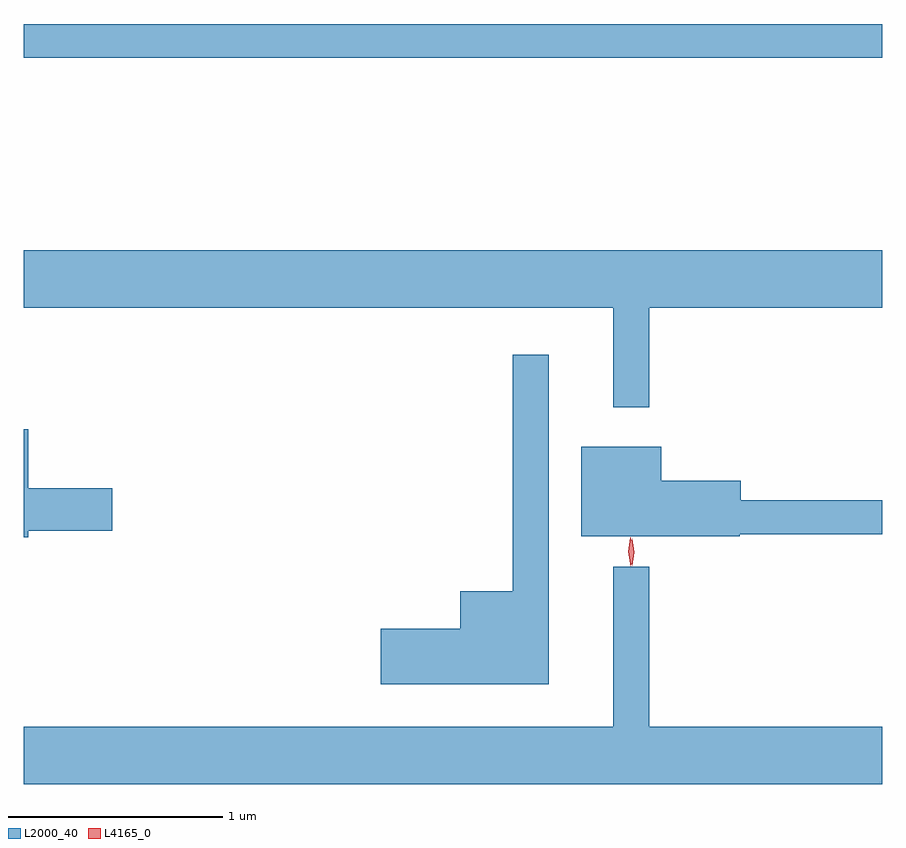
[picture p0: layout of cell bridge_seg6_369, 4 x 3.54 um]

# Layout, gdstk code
import gdstk
lib = gdstk.Library(unit=1e-6, precision=1e-09)
def R(c, l, rs):  # rectangles x0, y0, x1, y1
    for r in rs: c.add(gdstk.rectangle(r[:2], r[2:], *l))
def P(c, l, *ps):  # polygons
    for p in ps: c.add(gdstk.Polygon(p, *l))
L2000_40 = (2000, 40)
L4165_0 = (4165, 0)

bridge_seg6_369 = lib.new_cell('bridge_seg6_369')
R(bridge_seg6_369, L2000_40, [(981.383,1620.021,985.383,1620.179)])
P(bridge_seg6_369, L2000_40, [(984.299,1618.856),(985.383,1618.856),(985.383,1619.124),(981.383,1619.124),(981.383,1618.856),(984.131,1618.856),(984.131,1618.393),(984.299,1618.393)],
  [(983.829,1618.638),(983.661,1618.638),(983.661,1617.534),(983.416,1617.534),(983.416,1617.359),(983.046,1617.359),(983.046,1617.101),(983.829,1617.101)],
  [(981.404,1617.816),(981.794,1617.816),(981.794,1618.014),(981.404,1618.014),(981.404,1618.289),(981.383,1618.289),(981.383,1617.786),(981.404,1617.786)],
  [(984.72,1617.801),(985.383,1617.801),(985.383,1617.959),(984.724,1617.959),(984.724,1618.049),(984.354,1618.049),(984.354,1618.209),(983.981,1618.209),(983.981,1617.791),(984.72,1617.791)],
  [(985.383,1616.904),(984.299,1616.904),(984.299,1617.648),(984.131,1617.648),(984.131,1616.904),(981.383,1616.904),(981.383,1616.636),(985.383,1616.636)])
P(bridge_seg6_369, L4165_0, [(984.211,1617.65),(984.211,1617.65),(984.201,1617.718),(984.21,1617.785),(984.211,1617.786),(984.211,1617.785),(984.221,1617.718),(984.212,1617.65)],
  [(984.218,1617.653),(984.218,1617.654),(984.208,1617.716),(984.218,1617.78),(984.218,1617.78),(984.219,1617.78),(984.228,1617.716),(984.219,1617.654)])

lib.write_gds('bridge_seg6_369.gds')
